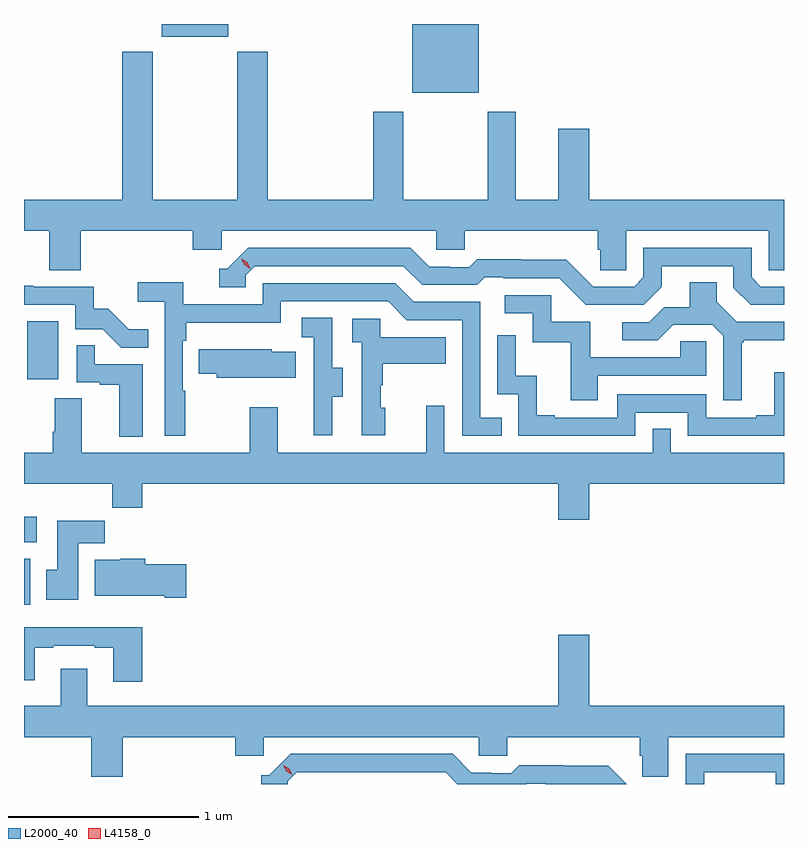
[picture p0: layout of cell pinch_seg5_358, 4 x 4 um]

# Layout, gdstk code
import gdstk
lib = gdstk.Library(unit=1e-6, precision=1e-09)
def R(c, l, rs):  # rectangles x0, y0, x1, y1
    for r in rs: c.add(gdstk.rectangle(r[:2], r[2:], *l))
def P(c, l, *ps):  # polygons
    for p in ps: c.add(gdstk.Polygon(p, *l))
L2000_40 = (2000, 40)
L4158_0 = (4158, 0)

pinch_seg5_358 = lib.new_cell('pinch_seg5_358')
R(pinch_seg5_358, L2000_40, [(1001.356,877.436,1001.389,877.678), (1001.356,877.766,1001.422,877.9), (1001.372,878.622,1001.536,878.929), (1003.4,880.13,1003.75,880.493), (1002.08,880.427,1002.43,880.493)])
P(pinch_seg5_358, L2000_40, [(1001.654,879.404),(1002.245,879.404),(1002.245,879.306),(1002.396,879.306),(1002.396,879.404),(1003.527,879.404),(1003.527,879.306),(1003.677,879.306),(1003.677,879.404),(1004.375,879.404),(1004.375,879.306),(1004.389,879.306),(1004.389,879.196),(1004.526,879.196),(1004.526,879.404),(1005.276,879.404),(1005.276,879.196),(1005.356,879.196),(1005.356,879.568),(1004.332,879.568),(1004.332,879.943),(1004.168,879.943),(1004.168,879.568),(1003.945,879.568),(1003.945,880.03),(1003.798,880.03),(1003.798,879.568),(1003.353,879.568),(1003.353,880.03),(1003.193,880.03),(1003.193,879.568),(1002.638,879.568),(1002.638,880.348),(1002.478,880.348),(1002.478,879.568),(1002.033,879.568),(1002.033,880.348),(1001.873,880.348),(1001.873,879.568),(1001.356,879.568),(1001.356,879.404),(1001.489,879.404),(1001.489,879.196),(1001.654,879.196)],
  [(1004.713,879.109),(1004.713,879.219),(1005.09,879.219),(1005.09,879.105),(1005.18,879.015),(1005.356,879.015),(1005.356,879.111),(1005.234,879.111),(1005.186,879.159),(1005.186,879.315),(1004.616,879.315),(1004.616,879.159),(1004.568,879.111),(1004.352,879.111),(1004.21,879.253),(1003.974,879.253),(1003.974,879.256),(1003.741,879.256),(1003.699,879.213),(1003.596,879.213),(1003.596,879.216),(1003.489,879.216),(1003.39,879.315),(1002.537,879.315),(1002.426,879.204),(1002.383,879.204),(1002.383,879.108),(1002.522,879.108),(1002.522,879.171),(1002.57,879.219),(1003.353,879.219),(1003.452,879.12),(1003.741,879.12),(1003.78,879.159),(1003.879,879.159),(1003.879,879.156),(1004.172,879.156),(1004.313,879.015),(1004.619,879.015)],
  [(1005.133,878.817),(1005.145,878.817),(1005.145,878.828),(1005.356,878.828),(1005.356,878.925),(1005.108,878.925),(1005.001,879.032),(1005.001,879.134),(1004.861,879.134),(1004.861,879.002),(1004.726,879.002),(1004.646,878.922),(1004.505,878.922),(1004.505,878.829),(1004.692,878.829),(1004.773,878.91),(1004.979,878.91),(1005.036,878.853),(1005.036,878.514),(1005.133,878.514)],
  [(1002.205,878.564),(1002.192,878.564),(1002.192,878.825),(1002.209,878.825),(1002.209,878.921),(1002.708,878.921),(1002.708,879.033),(1003.272,879.033),(1003.371,878.934),(1003.662,878.934),(1003.662,878.325),(1003.871,878.325),(1003.871,878.421),(1003.758,878.421),(1003.758,879.03),(1003.408,879.03),(1003.309,879.129),(1002.612,879.129),(1002.612,879.018),(1002.194,879.018),(1002.194,879.134),(1001.955,879.134),(1001.955,879.032),(1002.096,879.032),(1002.096,878.325),(1002.205,878.325)],
  [(1002.011,878.887),(1001.907,878.887),(1001.8,878.994),(1001.724,878.994),(1001.724,879.111),(1001.405,879.111),(1001.405,879.116),(1001.356,879.116),(1001.356,879.015),(1001.625,879.015),(1001.625,878.886),(1001.77,878.886),(1001.868,878.788),(1002.011,878.788)],
  [(1004.377,878.643),(1004.946,878.643),(1004.946,878.823),(1004.809,878.823),(1004.809,878.739),(1004.335,878.739),(1004.335,878.925),(1004.13,878.925),(1004.13,879.066),(1003.887,879.066),(1003.887,878.97),(1004.034,878.97),(1004.034,878.817),(1004.233,878.817),(1004.233,878.514),(1004.377,878.514)],
  [(1002.979,878.53),(1003.033,878.53),(1003.033,878.685),(1002.978,878.685),(1002.978,878.948),(1002.819,878.948),(1002.819,878.845),(1002.882,878.845),(1002.882,878.541),(1002.881,878.541),(1002.881,878.328),(1002.979,878.328)],
  [(1003.258,878.472),(1003.233,878.472),(1003.233,878.591),(1003.243,878.591),(1003.243,878.705),(1003.577,878.705),(1003.577,878.845),(1003.23,878.845),(1003.23,878.943),(1003.083,878.943),(1003.083,878.819),(1003.134,878.819),(1003.134,878.328),(1003.258,878.328)],
  [(1004.574,878.448),(1004.85,878.448),(1004.85,878.325),(1005.356,878.325),(1005.356,878.659),(1005.305,878.659),(1005.305,878.434),(1005.209,878.434),(1005.209,878.421),(1004.946,878.421),(1004.946,878.544),(1004.478,878.544),(1004.478,878.421),(1004.149,878.421),(1004.149,878.434),(1004.054,878.434),(1004.054,878.642),(1003.944,878.642),(1003.944,878.854),(1003.848,878.854),(1003.848,878.544),(1003.956,878.544),(1003.956,878.325),(1004.574,878.325)],
  [(1001.98,878.703),(1001.729,878.703),(1001.729,878.801),(1001.634,878.801),(1001.634,878.607),(1001.755,878.607),(1001.755,878.595),(1001.858,878.595),(1001.858,878.321),(1001.98,878.321)],
  [(1002.785,878.767),(1002.66,878.767),(1002.66,878.782),(1002.388,878.782),(1002.388,878.781),(1002.277,878.781),(1002.277,878.653),(1002.371,878.653),(1002.371,878.63),(1002.785,878.63)],
  [(1004.332,878.072),(1005.356,878.072),(1005.356,878.236),(1004.76,878.236),(1004.76,878.363),(1004.664,878.363),(1004.664,878.236),(1003.569,878.236),(1003.569,878.485),(1003.472,878.485),(1003.472,878.236),(1002.691,878.236),(1002.691,878.476),(1002.544,878.476),(1002.544,878.236),(1001.659,878.236),(1001.659,878.522),(1001.519,878.522),(1001.519,878.348),(1001.507,878.348),(1001.507,878.236),(1001.356,878.236),(1001.356,878.072),(1001.821,878.072),(1001.821,877.948),(1001.978,877.948),(1001.978,878.072),(1004.168,878.072),(1004.168,877.884),(1004.332,877.884)],
  [(1001.641,877.76),(1001.78,877.76),(1001.78,877.879),(1001.531,877.879),(1001.531,877.62),(1001.474,877.62),(1001.474,877.464),(1001.641,877.464)],
  [(1002.211,877.65),(1001.993,877.65),(1001.993,877.678),(1001.862,877.678),(1001.862,877.672),(1001.729,877.672),(1001.729,877.484),(1002.098,877.484),(1002.098,877.472),(1002.211,877.472)],
  [(1001.978,877.318),(1001.356,877.318),(1001.356,877.04),(1001.413,877.04),(1001.413,877.209),(1001.509,877.209),(1001.509,877.221),(1001.729,877.221),(1001.729,877.209),(1001.825,877.209),(1001.825,877.032),(1001.978,877.032)],
  [(1001.876,876.74),(1002.467,876.74),(1002.467,876.642),(1002.618,876.642),(1002.618,876.74),(1003.749,876.74),(1003.749,876.642),(1003.899,876.642),(1003.899,876.74),(1004.597,876.74),(1004.597,876.642),(1004.611,876.642),(1004.611,876.532),(1004.748,876.532),(1004.748,876.74),(1005.356,876.74),(1005.356,876.904),(1004.332,876.904),(1004.332,877.279),(1004.168,877.279),(1004.168,876.904),(1001.689,876.904),(1001.689,877.099),(1001.549,877.099),(1001.549,876.904),(1001.356,876.904),(1001.356,876.74),(1001.711,876.74),(1001.711,876.532),(1001.876,876.532)],
  [(1004.935,876.555),(1005.312,876.555),(1005.312,876.493),(1005.356,876.493),(1005.356,876.651),(1004.838,876.651),(1004.838,876.495),(1004.836,876.493),(1004.935,876.493)],
  [(1002.744,876.507),(1002.792,876.555),(1003.575,876.555),(1003.637,876.493),(1004,876.493),(1004.002,876.495),(1004.101,876.495),(1004.101,876.493),(1004.528,876.493),(1004.432,876.589),(1004.196,876.589),(1004.196,876.592),(1003.963,876.592),(1003.921,876.549),(1003.818,876.549),(1003.818,876.552),(1003.711,876.552),(1003.612,876.651),(1002.759,876.651),(1002.648,876.54),(1002.605,876.54),(1002.605,876.493),(1002.744,876.493)])
P(pinch_seg5_358, L4158_0, [(1002.546,879.206),(1002.515,879.225),(1002.499,879.257),(1002.499,879.257),(1002.499,879.257),(1002.53,879.238),(1002.547,879.206),(1002.547,879.206)],
  [(1002.768,876.541),(1002.737,876.56),(1002.721,876.593),(1002.721,876.593),(1002.721,876.593),(1002.752,876.574),(1002.768,876.541),(1002.768,876.541)])

lib.write_gds('pinch_seg5_358.gds')
